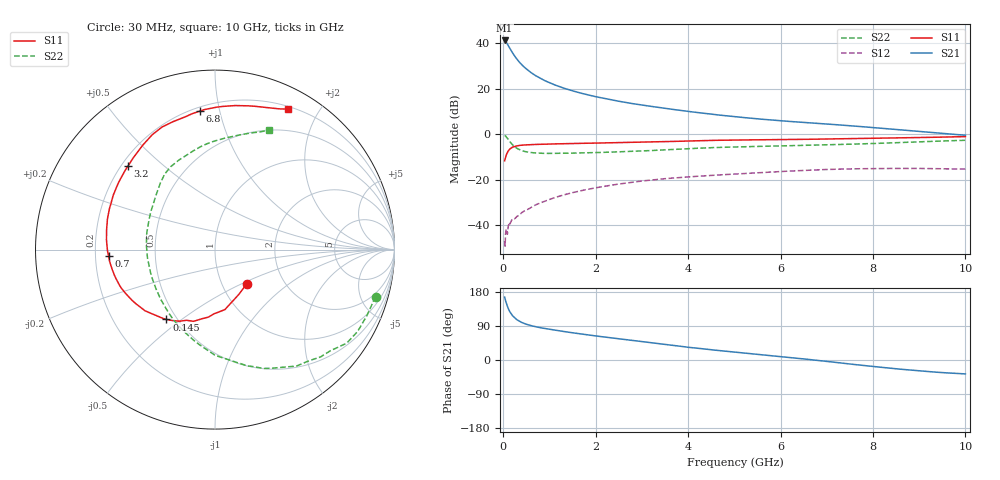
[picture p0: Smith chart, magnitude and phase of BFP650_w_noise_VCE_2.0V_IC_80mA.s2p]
! Infineon Technologies  Discrete & RF Semiconductors
! BFP650
! VCE =  2.0 V,  IC =  80 mA
! Common Emitter S-Parameters:  Jan 2016
# GHz  S  MA  R  50
!  f  S11  S21  S12  S22
! GHz  MAG  ANG  MAG  ANG  MAG  ANG  MAG  ANG
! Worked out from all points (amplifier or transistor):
!   229 points, 30 MHz to 10 GHz, reference 50 ohm
!   highest |S21| = 41.1 dB at 30 MHz (marker M1)
!   |S21| within 3 dB of that: start of sweep to 130.4 MHz
!   unconditionally stable (mu >= 1): 1.473 GHz to end of sweep
!   at 280 MHz: K = 0.59, MSG = 34.9 dB, |S12| = -36.5 dB
!   at 1.78 GHz: K = 1.02, MAG = 20.1 dB, |S12| = -24.4 dB
!   at 10 GHz: K = 1.03, MAG = 6.3 dB, |S12| = -15.3 dB
!   lowest NFmin = 1.25 dB at 450 MHz
!   S11 on the Smith chart (normalised r, x): 30 MHz: 1.30, -0.54; 145 MHz: 0.44, -0.44; 700 MHz: 0.25, -0.03; 3.2 GHz: 0.23, +0.39; 6.8 GHz: 0.22, +0.87; 10 GHz: 0.23, +1.62
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0.03  0.2605 -47.6  113 166.1  0.0045 97.3  0.9318 -16.3
0.04  0.2834 -62.3  111.7 161.3  0.0035 64.1  0.9229 -23.4
0.05  0.3101 -73.3  108 156.7  0.0064 58.5  0.9162 -29.9
0.06  0.339 -80.7  106 152.9  0.0079 75.6  0.9 -35.4
0.08  0.3782 -95.7  98.61 145.1  0.0077 68.1  0.8386 -45.5
0.11  0.4248 -112.0  87.46 135.5  0.0097 53.5  0.7597 -59.5
0.145  0.4736 -124.8  75.41 127.0  0.0109 59.9  0.6804 -72.9
0.2  0.5178 -138.8  60.71 117.0  0.014 58.2  0.5892 -89.9
0.26  0.5414 -148.4  49.35 109.8  0.0143 55.2  0.5181 -103.4
0.3  0.5531 -153.3  43.44 105.9  0.0158 54.7  0.4864 -111.2
0.36  0.5671 -159.0  36.8 101.6  0.0172 56.6  0.4536 -120.9
0.45  0.5779 -165.4  29.73 96.5  0.0206 58.4  0.4204 -132.3
0.6  0.5898 -172.7  22.37 90.7  0.0247 59.8  0.3946 -146.4
0.7  0.5942 -176.4  19.15 87.7  0.0281 60.1  0.3865 -153.5
1.1  0.6099 172.6  12.14 79.1  0.0402 59.5  0.3792 -173.0
1.7  0.6284 160.4  7.824 68.5  0.058 55.7  0.3878 169.5
3.2  0.6722 136.1  4.06 45.6  0.0984 39.8  0.4367 140.4
3.4  0.6801 133.1  3.794 42.6  0.1032 37.6  0.4463 137.4
5.1  0.7448 112.3  2.362 19.7  0.135 20.1  0.5262 116.8
6.8  0.7761 96.3  1.722 -1.0  0.1647 2.9  0.5772 98.4
8.4  0.8223 76.9  1.29 -22.0  0.1768 -14.9  0.6426 80.3
10  0.8809 62.7  0.946 -36.7  0.1715 -27.7  0.7325 65.6
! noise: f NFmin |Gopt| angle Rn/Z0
0.45  1.25  0.51  -171  0.06
0.9  1.27  0.52  -165  0.06
1.9  1.4  0.55  -151  0.08
2.4  1.49  0.54  -141  0.11
3.5  1.69  0.55  -118  0.19
